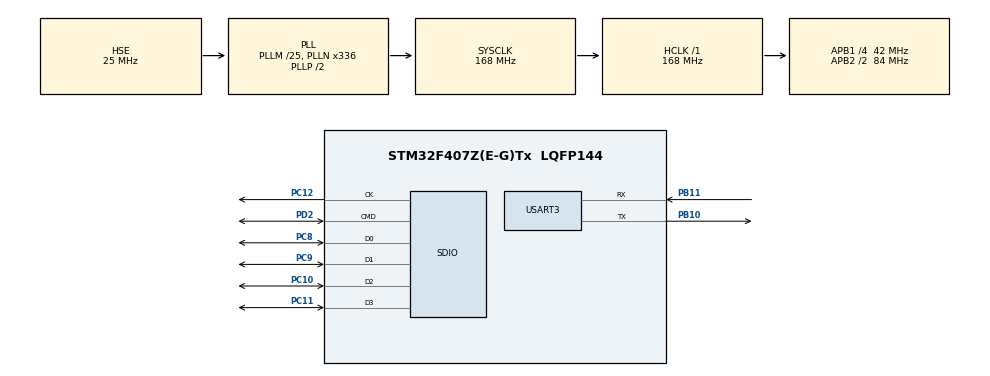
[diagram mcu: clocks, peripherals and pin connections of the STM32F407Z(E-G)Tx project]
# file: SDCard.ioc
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Dma.Request0=SDIO_RX
Dma.Request1=SDIO_TX
Dma.SDIO_RX.0.Direction=DMA_PERIPH_TO_MEMORY
Dma.SDIO_RX.0.FIFOMode=DMA_FIFOMODE_ENABLE
Dma.SDIO_RX.0.FIFOThreshold=DMA_FIFO_THRESHOLD_FULL
Dma.SDIO_RX.0.Instance=DMA2_Stream3
Dma.SDIO_RX.0.MemBurst=DMA_MBURST_INC4
Dma.SDIO_RX.0.MemDataAlignment=DMA_MDATAALIGN_WORD
Dma.SDIO_RX.0.MemInc=DMA_MINC_ENABLE
Dma.SDIO_RX.0.Mode=DMA_PFCTRL
Dma.SDIO_RX.0.PeriphBurst=DMA_PBURST_INC4
Dma.SDIO_RX.0.PeriphDataAlignment=DMA_PDATAALIGN_WORD
Dma.SDIO_RX.0.PeriphInc=DMA_PINC_DISABLE
Dma.SDIO_RX.0.Priority=DMA_PRIORITY_LOW
Dma.SDIO_TX.1.Direction=DMA_MEMORY_TO_PERIPH
Dma.SDIO_TX.1.FIFOMode=DMA_FIFOMODE_ENABLE
Dma.SDIO_TX.1.FIFOThreshold=DMA_FIFO_THRESHOLD_FULL
Dma.SDIO_TX.1.Instance=DMA2_Stream6
Dma.SDIO_TX.1.MemBurst=DMA_MBURST_INC4
Dma.SDIO_TX.1.MemDataAlignment=DMA_MDATAALIGN_WORD
Dma.SDIO_TX.1.MemInc=DMA_MINC_ENABLE
Dma.SDIO_TX.1.Mode=DMA_PFCTRL
Dma.SDIO_TX.1.PeriphBurst=DMA_PBURST_INC4
Dma.SDIO_TX.1.PeriphDataAlignment=DMA_PDATAALIGN_WORD
Dma.SDIO_TX.1.PeriphInc=DMA_PINC_DISABLE
Dma.SDIO_TX.1.Priority=DMA_PRIORITY_LOW
FATFS.USE_DMA_CODE_SD=1
FATFS._CODE_PAGE=936
FATFS._FS_EXFAT=1
FATFS._USE_LFN=2
Mcu.Family=STM32F4
Mcu.Name=STM32F407Z(E-G)Tx
Mcu.Package=LQFP144
NVIC.DMA2_Stream3_IRQn=true\:0\:0\:false\:false\:true\:false\:true\:true
NVIC.DMA2_Stream6_IRQn=true\:0\:0\:false\:false\:true\:false\:true\:true
NVIC.PriorityGroup=NVIC_PRIORITYGROUP_4
NVIC.SDIO_IRQn=true\:0\:0\:false\:false\:true\:true\:true\:true
PA13.Mode=Serial_Wire
PA13.Signal=SYS_JTMS-SWDIO
PA14.Mode=Serial_Wire
PA14.Signal=SYS_JTCK-SWCLK
PB10.Mode=Asynchronous
PB10.Signal=USART3_TX
PB11.Mode=Asynchronous
PB11.Signal=USART3_RX
PC10.Mode=SD_4_bits_Wide_bus
PC10.Signal=SDIO_D2
PC11.Mode=SD_4_bits_Wide_bus
PC11.Signal=SDIO_D3
PC12.Mode=SD_4_bits_Wide_bus
PC12.Signal=SDIO_CK
PC14-OSC32_IN.Mode=LSE-External-Oscillator
PC14-OSC32_IN.Signal=RCC_OSC32_IN
PC15-OSC32_OUT.Mode=LSE-External-Oscillator
PC15-OSC32_OUT.Signal=RCC_OSC32_OUT
PC8.Mode=SD_4_bits_Wide_bus
PC8.Signal=SDIO_D0
PC9.Mode=SD_4_bits_Wide_bus
PC9.Signal=SDIO_D1
PD2.Mode=SD_4_bits_Wide_bus
PD2.Signal=SDIO_CMD
PH0-OSC_IN.Mode=HSE-External-Oscillator
PH0-OSC_IN.Signal=RCC_OSC_IN
PH1-OSC_OUT.Mode=HSE-External-Oscillator
PH1-OSC_OUT.Signal=RCC_OSC_OUT
ProjectManager.HeapSize=0x200
ProjectManager.StackSize=0x800
ProjectManager.TargetToolchain=MDK-ARM V5.32
RCC.48MHZClocksFreq_Value=48000000
RCC.AHBFreq_Value=168000000
RCC.APB1CLKDivider=RCC_HCLK_DIV4
RCC.APB1Freq_Value=42000000
RCC.APB1TimFreq_Value=84000000
RCC.APB2CLKDivider=RCC_HCLK_DIV2
RCC.APB2Freq_Value=84000000
RCC.APB2TimFreq_Value=168000000
RCC.CortexFreq_Value=168000000
RCC.HCLKFreq_Value=168000000
RCC.HSE_VALUE=25000000
RCC.HSI_VALUE=16000000
RCC.PLLI2SN=100
RCC.PLLM=25
RCC.PLLN=336
RCC.PLLQ=7
RCC.PLLSourceVirtual=RCC_PLLSOURCE_HSE
RCC.SYSCLKFreq_VALUE=168000000
RCC.SYSCLKSource=RCC_SYSCLKSOURCE_PLLCLK
RCC.VCOOutputFreq_Value=336000000
USART3.VirtualMode=VM_ASYNC
VP_FATFS_VS_SDIO.Mode=SDIO
board=custom

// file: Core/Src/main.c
/* USER CODE BEGIN Header */
/**
  ******************************************************************************
  * @file           : main.c
  * @brief          : Main program body
  ******************************************************************************
  * @attention
  *
  * Copyright (c) 2026 STMicroelectronics.
  * All rights reserved.
  *
  * This software is licensed under terms that can be found in the LICENSE file
  * in the root directory of this software component.
  * If no LICENSE file comes with this software, it is provided AS-IS.
  *
  ******************************************************************************
  */
/* USER CODE END Header */
#include "main.h"
#include "dma.h"
#include "fatfs.h"
#include "sdio.h"
#include "usart.h"
#include "gpio.h"

/* USER CODE BEGIN Includes */
#include "stdio.h"
/* USER CODE END Includes */

/* USER CODE BEGIN PV */
void sd_mount(void)
{
	  FIL file;               // 文件对象
    FRESULT res;            // 状态
    UINT bw;                // 实际写入字节数
    char write_buf[] = "Stars Pi SD Card FATFS Test\r\n";

    retSD = f_mount(&SDFatFS, "0:", 1);   //挂载文件

    if (retSD == FR_NO_FILESYSTEM)
    {
        printf("SD NO FATFS,Initing\r\n");
        static uint8_t aMountBuffer[4096];
        retSD = f_mkfs("0:", FM_FAT32, 0, aMountBuffer, sizeof(aMountBuffer));

        if (retSD == FR_OK)
        {
            printf("SD Init : SUCCESS \r\n");
            f_mount(NULL, "0:", 1);
            retSD = f_mount(&SDFatFS, "0:", 1);

            if (retSD == FR_OK)
                printf("FatFs success \r\n");
            else
                return;
        }
        else
        {
            printf("SD Init：Fail \r\n");
            return;
        }
    }
    else if (retSD != FR_OK)
    {
        printf("FatFs ERROR: %d\r\n", retSD);
        return;
    }
    else
    {
        if (SDFatFS.fs_type == 0x03)
            printf("SD FATFS :FAT32\n");
        if (SDFatFS.fs_type == 0x04)
            printf("SD FATFS :exFAT\n");

        printf("FatFs success \r\n");
    }

    printf("=== Start SD Write Test ===\r\n");

    // 1. 创建并打开文件
    res = f_open(&file, "0:test.txt", FA_CREATE_ALWAYS | FA_WRITE);
    if (res != FR_OK)
    {
        printf("Open file fail: %d\r\n", res);
        return;
    }

    // 2. 写入数据
    res = f_write(&file, write_buf, sizeof(write_buf)-1, &bw);
    if (res == FR_OK && bw > 0)
    {
        printf("Write success! Bytes: %d\r\n", bw);
        printf("SD Card Test OK!\r\n");
    }
    else
    {
        printf("Write fail: %d\r\n", res);
    }

    // 3. 关闭文件
    f_close(&file);
}
/* USER CODE END PV */

void SystemClock_Config(void);

int main(void)
{

  /* MCU Configuration--------------------------------------------------------*/

  /* Reset of all peripherals, Initializes the Flash interface and the Systick. */
  HAL_Init();

  /* Configure the system clock */
  SystemClock_Config();

  /* Initialize all configured peripherals */
  MX_GPIO_Init();
  MX_DMA_Init();
  MX_SDIO_SD_Init();
  MX_FATFS_Init();
  MX_USART3_UART_Init();
  /* USER CODE BEGIN 2 */
  sd_mount(); //执行
  /* USER CODE END 2 */

  /* Infinite loop */
  /* USER CODE BEGIN WHILE */
  while (1)
  {
		printf("test_OK");
		HAL_Delay(1000);
    /* USER CODE END WHILE */

  }
}

void SystemClock_Config(void)
{
  RCC_OscInitTypeDef RCC_OscInitStruct = {0};
  RCC_ClkInitTypeDef RCC_ClkInitStruct = {0};

  /** Configure the main internal regulator output voltage
  */
  __HAL_RCC_PWR_CLK_ENABLE();
  __HAL_PWR_VOLTAGESCALING_CONFIG(PWR_REGULATOR_VOLTAGE_SCALE1);

  /** Initializes the RCC Oscillators according to the specified parameters
  * in the RCC_OscInitTypeDef structure.
  */
  RCC_OscInitStruct.OscillatorType = RCC_OSCILLATORTYPE_HSE;
  RCC_OscInitStruct.HSEState = RCC_HSE_ON;
  RCC_OscInitStruct.PLL.PLLState = RCC_PLL_ON;
  RCC_OscInitStruct.PLL.PLLSource = RCC_PLLSOURCE_HSE;
  RCC_OscInitStruct.PLL.PLLM = 25;
  RCC_OscInitStruct.PLL.PLLN = 336;
  RCC_OscInitStruct.PLL.PLLP = RCC_PLLP_DIV2;
  RCC_OscInitStruct.PLL.PLLQ = 7;
  if (HAL_RCC_OscConfig(&RCC_OscInitStruct) != HAL_OK)
  {
    Error_Handler();
  }

  /** Initializes the CPU, AHB and APB buses clocks
  */
  RCC_ClkInitStruct.ClockType = RCC_CLOCKTYPE_HCLK|RCC_CLOCKTYPE_SYSCLK
                              |RCC_CLOCKTYPE_PCLK1|RCC_CLOCKTYPE_PCLK2;
  RCC_ClkInitStruct.SYSCLKSource = RCC_SYSCLKSOURCE_PLLCLK;
  RCC_ClkInitStruct.AHBCLKDivider = RCC_SYSCLK_DIV1;
  RCC_ClkInitStruct.APB1CLKDivider = RCC_HCLK_DIV4;
  RCC_ClkInitStruct.APB2CLKDivider = RCC_HCLK_DIV2;

  if (HAL_RCC_ClockConfig(&RCC_ClkInitStruct, FLASH_LATENCY_5) != HAL_OK)
  {
    Error_Handler();
  }
}

/* USER CODE BEGIN 4 */
int fputc(int ch, FILE *f)
{
  /* Your implementation of fputc(). */
	HAL_UART_Transmit(&huart3,(uint8_t*)&ch,1,500);
  return ch;
}
/* USER CODE END 4 */

void Error_Handler(void)
{
  __disable_irq();
  while (1)
  {
  }
}
